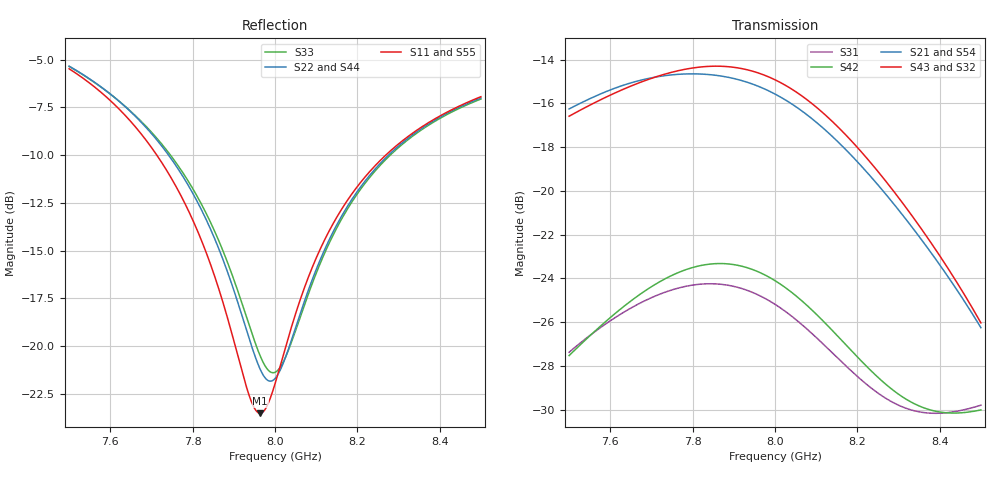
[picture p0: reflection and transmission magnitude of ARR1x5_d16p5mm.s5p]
! Touchstone file exported from HFSS 2025.1.0
!  File:  C:/Users/user/Documents/Ansoft/TFG_UWB-MIMO-Array.aedt
!  Generated:  06:37:34 PM Nov 20, 2026
!  Design:  ARR1x5_P01_MS2_dparam
!  Project:  TFG_UWB-MIMO-Array
!  Setup:  Setup_ch9
!  Solution:  Sweep_7p5_8p5
! Variables:
!  arr_d = 16.5mm
!  board_m = 13mm
!  board_x = 92mm
!  board_y = 26mm
!  cu_t = 0.035mm
!  line_w = 3.92mm
!  pad_xy = 22mm
!  pad_zn = 25mm
!  pad_zp = 33mm
!  patch_L = 7.322mm
!  patch_W = 11.421266mm
!  sub_h = 2.07mm
!  tr_l = 7.1mm
!  tr_w = 0.8mm
# GHz S MA R 50.000000
! Terminal data exported
! Port[1] = P1
! Port[2] = P2
! Port[3] = P3
! Port[4] = P4
! Port[5] = P5
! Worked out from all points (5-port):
!   1001 points, 7.5 GHz to 8.5 GHz, reference 50 ohm
!   strongest paths, dB at 7.5 GHz, 7.75 GHz, 8 GHz, 8.25 GHz, 8.5 GHz:
!     S43: -16.6, -14.6, -14.9, -19.1, -26.0
!     S32: -16.6, -14.6, -14.9, -19.1, -26.0
!     S21: -16.3, -14.7, -15.6, -19.7, -26.2
!     S54: -16.2, -14.7, -15.7, -19.9, -26.7
!     S42: -27.5, -23.9, -24.1, -28.5, -30.0
!     S31: -27.4, -24.5, -25.2, -29.2, -29.8
!   lowest |S11| = -23.5 dB at 7.964 GHz (marker M1), VSWR 1.14, Z = 56.6 + j2.71 ohm
!   |S11| at or under -10 dB: 7.713 GHz to 8.269 GHz (555.9 MHz wide, 6.96 % of centre)
